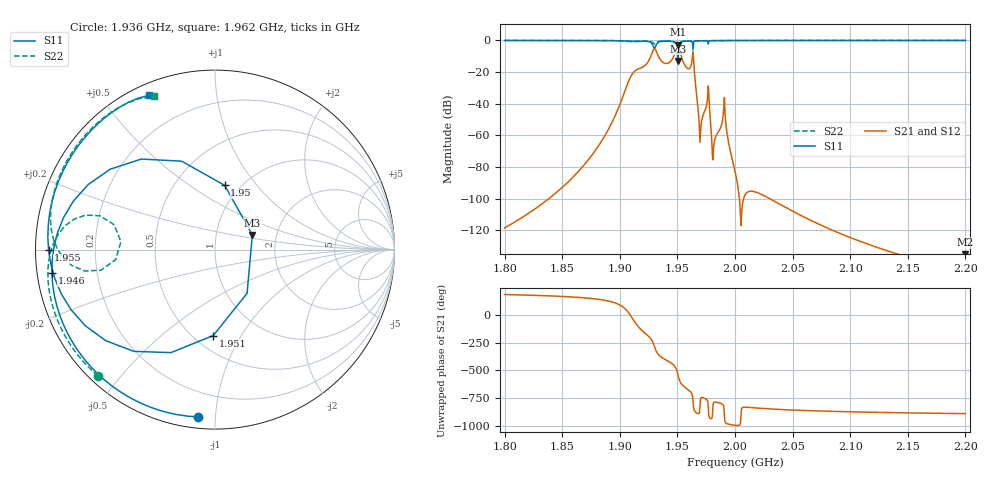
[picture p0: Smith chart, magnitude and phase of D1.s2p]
! Touchstone file exported from HFSS 2023.1.0
!  File:  E:/1.Project/CoxailF/seventhree.aedt
!  Generated:  4:13:39 %x4E0B%x5348  5%x6708 24, 2023
!  Design:  Resonator_out1
!  Project:  seventhree
!  Setup:  Setup1
!  Solution:  Sweep
! Variables:
!  Hin1 = 26mm
!  Hout = 29mm
!  L12 = 15mm
!  L13 = 14.7mm
!  L23 = 6.6mm
!  L34 = 12.3mm
!  L45 = 7.7mm
!  L46 = 3.2mm
!  L56 = 10mm
!  L67 = 13mm
!  L78 = 8mm
!  L79 = 8.3mm
!  L89 = 16.5mm
!  Rin = 5mm
!  Rin2 = 4mm
!  Rout = 15mm
!  Rport = 1.15mm
!  Rport2 = 3mm
!  Rportin = 0.5mm
!  d = 3mm
!  d01 = 2.95mm
!  d02 = 3.9mm
!  d03 = 3.62mm
!  d04 = 3.67mm
!  d05 = 3.66mm
!  d06 = 3.4mm
!  d07 = 3.5mm
!  d08 = 4mm
!  d09 = 2.87mm
!  d12 = 18mm
!  d12x = 15.5mm
!  d12y = 25mm
!  d23 = 18mm
!  d34 = 30mm
!  hport = 10.4mm
!  hport2 = 10.4mm
!  lport = 12mm
!  lport2 = 1mm
!  lport_2 = 12mm
!  m = 2mm
!  w12 = 12mm
!  w13 = 10mm
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# GHz S MA R 50.000000
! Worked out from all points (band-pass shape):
!   1001 points, 1.8 GHz to 2.2 GHz, reference 50 ohm
!   highest |S21| = -2.66 dB at 1.95 GHz (marker M1); lowest = -146.6 dB at 2.2 GHz (marker M2)
!   |S21| within 3 dB of the highest: 1.929363 GHz to 1.930908 GHz (1.545 MHz wide, 0.08 % of centre); 1.948904 GHz to 1.951869 GHz (2.965 MHz wide, 0.152 % of centre)
!   lowest |S11| = -13.0 dB at 1.95 GHz (marker M3), VSWR 1.58, Z = 74.9 + j13 ohm
!   |S11| at or under -10 dB: 1.950112 GHz to 1.95084 GHz (727.6 kHz wide, 0.0373 % of centre)
!   |S22| runs from -9.3 to 0.0 dB; largest |S21 - S12| = 2.3e-10
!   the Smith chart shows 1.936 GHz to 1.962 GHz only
!   S11 on the Smith chart (normalised r, x): 1.936 GHz: 0.06, -0.90; 1.946 GHz: 0.04, -0.07; 1.95 GHz: 0.85, +0.70; 1.951 GHz: 0.62, -0.77; 1.955 GHz: 0.04, -0.00; 1.962 GHz: 0.05, +0.66
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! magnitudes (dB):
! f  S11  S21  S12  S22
! 1.8 GHz  0.0  -118.5  -118.5  0.0
! 1.867 GHz  0.0  -80.6  -80.6  0.0
! 1.889 GHz  -0.1  -57.4  -57.4  -0.1
! 1.911 GHz  -0.6  -20.8  -20.8  -0.7
! 1.93 GHz  -4.5  -5.4  -5.4  -2.0
! 1.934 GHz  -1.1  -10.1  -10.1  -0.7
! 1.936 GHz  -0.6  -13.2  -13.2  -0.4
! 1.946 GHz  -0.7  -11.4  -11.4  -0.6
! 1.95 GHz  -8.8  -3.0  -3.0  -4.7
! 1.95 GHz  -13.0  -2.7  -2.7  -5.6
! 1.951 GHz  -6.4  -3.7  -3.7  -3.8
! 1.955 GHz  -0.7  -13.1  -13.1  -0.5
! 1.962 GHz  -0.6  -14.2  -14.2  -0.7
! 1.965 GHz  -0.4  -20.2  -20.2  -0.6
! 1.97 GHz  -0.2  -64.4  -64.4  -0.2
! 1.976 GHz  -0.6  -34.0  -34.0  -0.2
! 1.982 GHz  -0.1  -64.3  -64.3  -0.1
! 1.99 GHz  -0.1  -40.1  -40.1  -0.2
! 2 GHz  -0.1  -82.8  -82.8  -0.1
! 2.067 GHz  0.0  -114.1  -114.1  0.0
! 2.134 GHz  0.0  -133.3  -133.3  0.0
! 2.2 GHz  0.0  -146.6  -146.6  0.0
